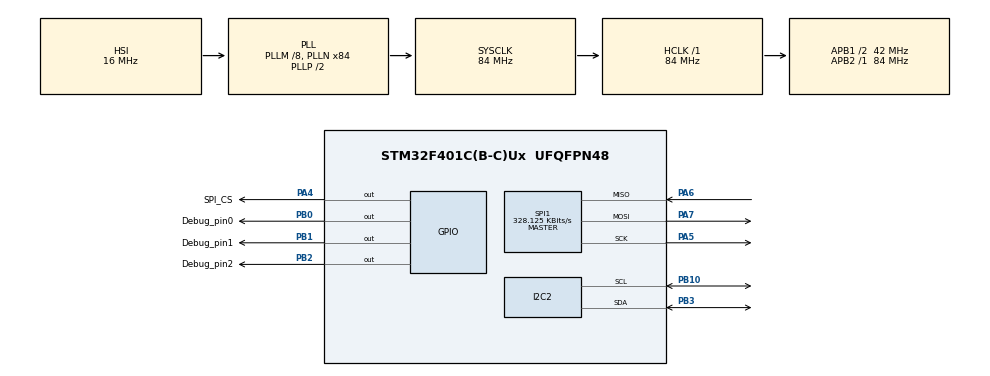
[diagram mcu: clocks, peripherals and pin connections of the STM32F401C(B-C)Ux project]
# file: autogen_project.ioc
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FREERTOS.Tasks01=TMAG5173,0,128,Tmag5173_Task,Default,NULL,Static,TMAG5173_Buffer,TMAG5173_ControlBlock;SDCard,1,256,SDCard_Task,Default,NULL,Static,SDCard_Buffer,SDCard_ControlBlock
FREERTOS.configUSE_MUTEXES=0
FREERTOS.configUSE_PREEMPTION=0
FREERTOS.configUSE_TASK_NOTIFICATIONS=1
I2C2.I2C_Mode=I2C_Fast
I2C2.OwnAddress=0x22
Mcu.Family=STM32F4
Mcu.Name=STM32F401C(B-C)Ux
Mcu.Package=UFQFPN48
NVIC.I2C2_ER_IRQn=true\:5\:0\:false\:false\:true\:true\:true\:true\:true
NVIC.I2C2_EV_IRQn=true\:5\:0\:false\:false\:true\:true\:true\:true\:true
NVIC.PriorityGroup=NVIC_PRIORITYGROUP_4
NVIC.SPI1_IRQn=true\:5\:0\:false\:false\:true\:true\:true\:true\:true
NVIC.TIM1_UP_TIM10_IRQn=true\:15\:0\:false\:false\:true\:false\:false\:true\:true
NVIC.TimeBase=TIM1_UP_TIM10_IRQn
NVIC.TimeBaseIP=TIM1
PA13.Mode=Serial_Wire
PA13.Signal=SYS_JTMS-SWDIO
PA14.Mode=Serial_Wire
PA14.Signal=SYS_JTCK-SWCLK
PA4.GPIO_Label=SPI_CS
PA4.GPIO_Speed=GPIO_SPEED_FREQ_VERY_HIGH
PA4.PinState=GPIO_PIN_SET
PA4.Signal=GPIO_Output
PA5.Mode=Full_Duplex_Master
PA5.Signal=SPI1_SCK
PA6.Mode=Full_Duplex_Master
PA6.Signal=SPI1_MISO
PA7.Mode=Full_Duplex_Master
PA7.Signal=SPI1_MOSI
PB0.GPIO_Label=Debug_pin0
PB0.GPIO_Speed=GPIO_SPEED_FREQ_VERY_HIGH
PB0.Signal=GPIO_Output
PB1.GPIO_Label=Debug_pin1
PB1.GPIO_Speed=GPIO_SPEED_FREQ_VERY_HIGH
PB1.Signal=GPIO_Output
PB10.Mode=I2C
PB10.Signal=I2C2_SCL
PB2.GPIO_Label=Debug_pin2
PB2.GPIO_Speed=GPIO_SPEED_FREQ_VERY_HIGH
PB2.Signal=GPIO_Output
PB3.Mode=I2C
PB3.Signal=I2C2_SDA
ProjectManager.HeapSize=0x200
ProjectManager.StackSize=0x400
ProjectManager.TargetToolchain=Makefile
RCC.48MHZClocksFreq_Value=42000000
RCC.AHBFreq_Value=84000000
RCC.APB1CLKDivider=RCC_HCLK_DIV2
RCC.APB1Freq_Value=42000000
RCC.APB1TimFreq_Value=84000000
RCC.APB2Freq_Value=84000000
RCC.APB2TimFreq_Value=84000000
RCC.CortexFreq_Value=84000000
RCC.HCLKFreq_Value=84000000
RCC.HSE_VALUE=25000000
RCC.HSI_VALUE=16000000
RCC.LSE_VALUE=32768
RCC.PLLM=8
RCC.PLLN=84
RCC.SYSCLKFreq_VALUE=84000000
RCC.SYSCLKSource=RCC_SYSCLKSOURCE_PLLCLK
RCC.VCOOutputFreq_Value=168000000
SPI1.BaudRatePrescaler=SPI_BAUDRATEPRESCALER_256
SPI1.CalculateBaudRate=328.125 KBits/s
SPI1.Direction=SPI_DIRECTION_2LINES
SPI1.Mode=SPI_MODE_MASTER
SPI1.VirtualType=VM_MASTER
VP_FREERTOS_VS_CMSIS_V1.Mode=CMSIS_V1
VP_SYS_VS_tim1.Mode=TIM1
board=custom

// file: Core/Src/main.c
/* USER CODE BEGIN Header */
/**
  ******************************************************************************
  * @file           : main.c
  * @brief          : Main program body
  ******************************************************************************
  * @attention
  *
  * Copyright (c) 2024 STMicroelectronics.
  * All rights reserved.
  *
  * This software is licensed under terms that can be found in the LICENSE file
  * in the root directory of this software component.
  * If no LICENSE file comes with this software, it is provided AS-IS.
  *
  ******************************************************************************
  */
/* USER CODE END Header */
#include "main.h"
#include "cmsis_os.h"

/* USER CODE BEGIN Includes */
#include "tmag5173.h"
#include "sd_card.h"
#include "std_types.h"
#include "ff.h"
/* USER CODE END Includes */

/* USER CODE BEGIN PD */
#define BUFFERED_LOG_ENTRIES    (50U)
#define BUFFERED_DATA_LENGTH    (19U)
#define BUFFER_SIZE             (BUFFERED_LOG_ENTRIES * BUFFERED_DATA_LENGTH)
/* USER CODE END PD */

I2C_HandleTypeDef hi2c2;

SPI_HandleTypeDef hspi1;

osThreadId TMAG5173Handle;
uint32_t TMAG5173_Buffer[ 256 ];
osStaticThreadDef_t TMAG5173_ControlBlock;
osThreadId SDCardHandle;
uint32_t SDCard_Buffer[ 256 ];
osStaticThreadDef_t SDCard_ControlBlock;

FATFS FileSystem;
FIL file;
UINT BytesWrittenInfo;

void SystemClock_Config(void);
static void MX_GPIO_Init(void);
static void MX_I2C2_Init(void);
static void MX_SPI1_Init(void);
void Tmag5173_Task(void const * argument);
void SDCard_Task(void const * argument);

int main(void)
{

  /* MCU Configuration--------------------------------------------------------*/

  /* Reset of all peripherals, Initializes the Flash interface and the Systick. */
  HAL_Init();

  /* Configure the system clock */
  SystemClock_Config();

  /* Initialize all configured peripherals */
  MX_GPIO_Init();
  MX_I2C2_Init();
  MX_SPI1_Init();

  /* Create the thread(s) */
  /* definition and creation of TMAG5173 */
  osThreadStaticDef(TMAG5173, Tmag5173_Task, osPriorityNormal, 0, 256, TMAG5173_Buffer, &TMAG5173_ControlBlock);
  TMAG5173Handle = osThreadCreate(osThread(TMAG5173), NULL);

  /* definition and creation of SDCard */
  osThreadStaticDef(SDCard, SDCard_Task, osPriorityAboveNormal, 0, 256, SDCard_Buffer, &SDCard_ControlBlock);
  SDCardHandle = osThreadCreate(osThread(SDCard), NULL);

  /* Start scheduler */
  osKernelStart();

  /* We should never get here as control is now taken by the scheduler */

  /* Infinite loop */
  while (1)
  {

  }
}

void SystemClock_Config(void)
{
  RCC_OscInitTypeDef RCC_OscInitStruct = {0};
  RCC_ClkInitTypeDef RCC_ClkInitStruct = {0};

  /** Configure the main internal regulator output voltage
  */
  __HAL_RCC_PWR_CLK_ENABLE();
  __HAL_PWR_VOLTAGESCALING_CONFIG(PWR_REGULATOR_VOLTAGE_SCALE2);

  /** Initializes the RCC Oscillators according to the specified parameters
  * in the RCC_OscInitTypeDef structure.
  */
  RCC_OscInitStruct.OscillatorType = RCC_OSCILLATORTYPE_HSI;
  RCC_OscInitStruct.HSIState = RCC_HSI_ON;
  RCC_OscInitStruct.HSICalibrationValue = RCC_HSICALIBRATION_DEFAULT;
  RCC_OscInitStruct.PLL.PLLState = RCC_PLL_ON;
  RCC_OscInitStruct.PLL.PLLSource = RCC_PLLSOURCE_HSI;
  RCC_OscInitStruct.PLL.PLLM = 8;
  RCC_OscInitStruct.PLL.PLLN = 84;
  RCC_OscInitStruct.PLL.PLLP = RCC_PLLP_DIV2;
  RCC_OscInitStruct.PLL.PLLQ = 4;
  if (HAL_RCC_OscConfig(&RCC_OscInitStruct) != HAL_OK)
  {
    Error_Handler();
  }

  /** Initializes the CPU, AHB and APB buses clocks
  */
  RCC_ClkInitStruct.ClockType = RCC_CLOCKTYPE_HCLK|RCC_CLOCKTYPE_SYSCLK
                              |RCC_CLOCKTYPE_PCLK1|RCC_CLOCKTYPE_PCLK2;
  RCC_ClkInitStruct.SYSCLKSource = RCC_SYSCLKSOURCE_PLLCLK;
  RCC_ClkInitStruct.AHBCLKDivider = RCC_SYSCLK_DIV1;
  RCC_ClkInitStruct.APB1CLKDivider = RCC_HCLK_DIV2;
  RCC_ClkInitStruct.APB2CLKDivider = RCC_HCLK_DIV1;

  if (HAL_RCC_ClockConfig(&RCC_ClkInitStruct, FLASH_LATENCY_2) != HAL_OK)
  {
    Error_Handler();
  }
}

static void MX_I2C2_Init(void)
{

  hi2c2.Instance = I2C2;
  hi2c2.Init.ClockSpeed = 400000;
  hi2c2.Init.DutyCycle = I2C_DUTYCYCLE_2;
  hi2c2.Init.OwnAddress1 = 68;
  hi2c2.Init.AddressingMode = I2C_ADDRESSINGMODE_7BIT;
  hi2c2.Init.DualAddressMode = I2C_DUALADDRESS_DISABLE;
  hi2c2.Init.OwnAddress2 = 0;
  hi2c2.Init.GeneralCallMode = I2C_GENERALCALL_DISABLE;
  hi2c2.Init.NoStretchMode = I2C_NOSTRETCH_DISABLE;
  if (HAL_I2C_Init(&hi2c2) != HAL_OK)
  {
    Error_Handler();
  }

}

static void MX_SPI1_Init(void)
{

  /* SPI1 parameter configuration*/
  hspi1.Instance = SPI1;
  hspi1.Init.Mode = SPI_MODE_MASTER;
  hspi1.Init.Direction = SPI_DIRECTION_2LINES;
  hspi1.Init.DataSize = SPI_DATASIZE_8BIT;
  hspi1.Init.CLKPolarity = SPI_POLARITY_LOW;
  hspi1.Init.CLKPhase = SPI_PHASE_1EDGE;
  hspi1.Init.NSS = SPI_NSS_SOFT;
  hspi1.Init.BaudRatePrescaler = SPI_BAUDRATEPRESCALER_256;
  hspi1.Init.FirstBit = SPI_FIRSTBIT_MSB;
  hspi1.Init.TIMode = SPI_TIMODE_DISABLE;
  hspi1.Init.CRCCalculation = SPI_CRCCALCULATION_DISABLE;
  hspi1.Init.CRCPolynomial = 10;
  if (HAL_SPI_Init(&hspi1) != HAL_OK)
  {
    Error_Handler();
  }

}

static void MX_GPIO_Init(void)
{
  GPIO_InitTypeDef GPIO_InitStruct = {0};

  /* GPIO Ports Clock Enable */
  __HAL_RCC_GPIOA_CLK_ENABLE();
  __HAL_RCC_GPIOB_CLK_ENABLE();

  /*Configure GPIO pin Output Level */
  HAL_GPIO_WritePin(SPI_CS_GPIO_Port, SPI_CS_Pin, GPIO_PIN_SET);

  /*Configure GPIO pin Output Level */
  HAL_GPIO_WritePin(GPIOB, Debug_pin0_Pin|Debug_pin1_Pin|Debug_pin2_Pin, GPIO_PIN_RESET);

  /*Configure GPIO pin : SPI_CS_Pin */
  GPIO_InitStruct.Pin = SPI_CS_Pin;
  GPIO_InitStruct.Mode = GPIO_MODE_OUTPUT_PP;
  GPIO_InitStruct.Pull = GPIO_NOPULL;
  GPIO_InitStruct.Speed = GPIO_SPEED_FREQ_VERY_HIGH;
  HAL_GPIO_Init(SPI_CS_GPIO_Port, &GPIO_InitStruct);

  /*Configure GPIO pins : Debug_pin0_Pin Debug_pin1_Pin Debug_pin2_Pin */
  GPIO_InitStruct.Pin = Debug_pin0_Pin|Debug_pin1_Pin|Debug_pin2_Pin;
  GPIO_InitStruct.Mode = GPIO_MODE_OUTPUT_PP;
  GPIO_InitStruct.Pull = GPIO_NOPULL;
  GPIO_InitStruct.Speed = GPIO_SPEED_FREQ_VERY_HIGH;
  HAL_GPIO_Init(GPIOB, &GPIO_InitStruct);

}

/* USER CODE BEGIN 4 */

void uint16Value_ToBufferASCII(uint8_t *buffer, int16_t value)
{
  uint16_t unsigned_value;
  if (value < 0)
  {
    buffer[0] = '-';
    unsigned_value = -value;
  }
  else
  {
    buffer[0] = '0';
    unsigned_value = value;
  }
  buffer[1] = ((unsigned_value / 1000) % 10) + '0';
  buffer[2] = ((unsigned_value / 100) % 10) + '0';
  buffer[3] = ((unsigned_value / 10) % 10) + '0';
  buffer[4] = (unsigned_value % 10) + '0';
  buffer[5] = ',';
}

/* USER CODE END 4 */

uint8_t DataBuffer0[BUFFER_SIZE];
uint8_t DataBuffer1[BUFFER_SIZE];
uint8_t BufferIndexUpdatedNow = 0;
void Tmag5173_Task(void const * argument)
{
    /* USER CODE BEGIN 5 */
    TMAG5173_InitializeSensor();

    /* Infinite loop */
    for (;;)
    {
        uint16_t buffer_index = 0;
        uint8_t *buffer;
        if (0 == BufferIndexUpdatedNow)
        {
            buffer = DataBuffer0;
        }
        else
        {
            buffer = DataBuffer1;
        }

        for(uint16_t i = 0; i < BUFFERED_LOG_ENTRIES; i++)
        {
            TMAG5173_SensorDataType sensor_data;
            /* Read sensor data and write them to buffer */
            TMAG5173_ReadData(&sensor_data);
            uint16Value_ToBufferASCII(&buffer[buffer_index], sensor_data.x_axis);
            buffer_index += 6;
            uint16Value_ToBufferASCII(&buffer[buffer_index], sensor_data.y_axis);
            buffer_index += 6;
            uint16Value_ToBufferASCII(&buffer[buffer_index], sensor_data.z_axis);
            buffer_index += 6;
            buffer[buffer_index++] = '\n';
            osDelay(1);
        }
        BufferIndexUpdatedNow = (BufferIndexUpdatedNow + 1) % 2;
        xTaskNotifyGive(SDCardHandle);
    }
  /* USER CODE END 5 */
}

void SDCard_Task(void const * argument)
{
    /* USER CODE BEGIN SDCard_Task */
    /* Infinite loop */
    Std_ReturnType card_status = E_OK;
    card_status = SDCard_InitializeCard();

    if (FR_OK != f_mount(&FileSystem, "", 1))
    {
        DET_ErrorReception();
    }

    /* Create file with Append mode */
    if (FR_OK != f_open(&file, "log.txt", FA_WRITE | FA_OPEN_ALWAYS))
    {
        DET_ErrorReception();
    }

    /* Set Read/Write pointer to end of file to prepare for data writing */
    if (FR_OK != f_lseek(&file, f_size(&file)))
    {
        DET_ErrorReception();
    }

    /* Indicate that there is new record */
    f_printf(&file, "######\n");
    f_close(&file);

    for(;;)
    {
        uint8_t *buffer;
        /* Use buffer which is not updated right now */
        if (1 == BufferIndexUpdatedNow)
        {
            buffer = DataBuffer0;
        }
        else
        {
            buffer = DataBuffer1;
        }

        /* Create file with Append mode */
        if (FR_OK != f_open(&file, "log.txt", FA_WRITE | FA_OPEN_ALWAYS))
        {
            DET_ErrorReception();
        }

        /* Set Read/Write pointer to end of file to prepare for data writing */
        if (FR_OK != f_lseek(&file, f_size(&file)))
        {
            DET_ErrorReception();
        }

        /* Write logged file */
        if (FR_OK != f_write(&file, buffer, BUFFER_SIZE, &BytesWrittenInfo))
        {
            DET_ErrorReception();
        }

        /* Close file. If something crash we can have at least part data */
        if (FR_OK != f_close(&file))
        {
            DET_ErrorReception();
        }
        /* Wait for buffor to be filled with data */
        ulTaskNotifyTake(pdFALSE, 10000U);
    }
  /* USER CODE END SDCard_Task */
}

void HAL_TIM_PeriodElapsedCallback(TIM_HandleTypeDef *htim)
{
  if (htim->Instance == TIM1) {
    HAL_IncTick();
  }
}

void Error_Handler(void)
{
  /* USER CODE BEGIN Error_Handler_Debug */
  // TODO - do something smarter here
  /* User can add his own implementation to report the HAL error return state */
  __disable_irq();
  while (1)
  {
  }
  /* USER CODE END Error_Handler_Debug */
}
